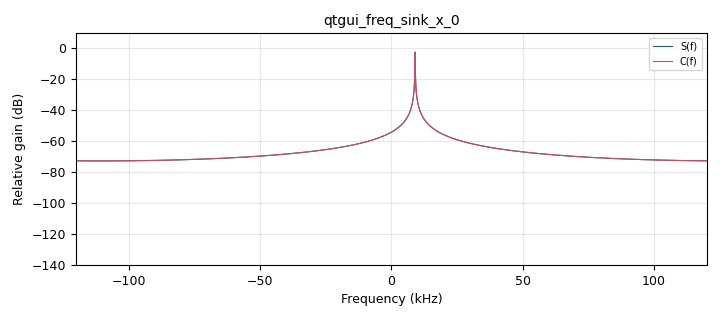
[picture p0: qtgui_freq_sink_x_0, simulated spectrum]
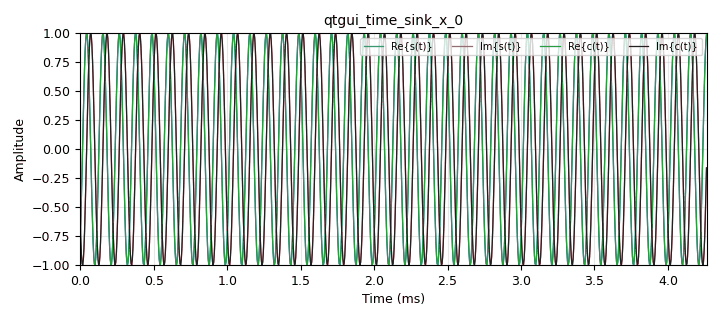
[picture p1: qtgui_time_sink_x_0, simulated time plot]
<?xml version='1.0' encoding='utf-8'?>
<?grc format='1' created='3.7.9'?>
<flow_graph>
<block>
<key>options</key>
<param><key>id</key><value>top_block</value></param>
<param><key>generate_options</key><value>qt_gui</value></param>
</block>
<block>
<key>variable_qtgui_range</key>
<param><key>id</key><value>Am</value></param>
<param><key>value</key><value>1</value></param>
<param><key>orient</key><value>Qt.Horizontal</value></param>
<param><key>start</key><value>0</value></param>
<param><key>step</key><value>0.5</value></param>
<param><key>stop</key><value>10</value></param>
</block>
<block>
<key>variable_qtgui_range</key>
<param><key>id</key><value>An</value></param>
<param><key>value</key><value>0</value></param>
<param><key>orient</key><value>Qt.Horizontal</value></param>
<param><key>start</key><value>0</value></param>
<param><key>step</key><value>0.5</value></param>
<param><key>stop</key><value>5</value></param>
</block>
<block>
<key>variable_qtgui_range</key>
<param><key>id</key><value>Df</value></param>
<param><key>value</key><value>1000</value></param>
<param><key>orient</key><value>Qt.Horizontal</value></param>
<param><key>start</key><value>500</value></param>
<param><key>step</key><value>100</value></param>
<param><key>stop</key><value>2000</value></param>
</block>
<block>
<key>variable_qtgui_range</key>
<param><key>id</key><value>fc</value></param>
<param><key>value</key><value>10000</value></param>
<param><key>orient</key><value>Qt.Horizontal</value></param>
<param><key>start</key><value>1000</value></param>
<param><key>step</key><value>1000</value></param>
<param><key>stop</key><value>20000</value></param>
</block>
<block>
<key>variable_qtgui_range</key>
<param><key>id</key><value>fm</value></param>
<param><key>value</key><value>0.5</value></param>
<param><key>orient</key><value>Qt.Horizontal</value></param>
<param><key>start</key><value>0</value></param>
<param><key>step</key><value>0.02</value></param>
<param><key>stop</key><value>1</value></param>
</block>
<block>
<key>variable</key>
<param><key>id</key><value>samp_rate</value></param>
<param><key>value</key><value>240000</value></param>
</block>
<block>
<key>analog_noise_source_x</key>
<param><key>id</key><value>analog_noise_source_x_0</value></param>
<param><key>amp</key><value>An</value></param>
<param><key>noise_type</key><value>analog.GR_GAUSSIAN</value></param>
<param><key>type</key><value>complex</value></param>
<param><key>seed</key><value>0</value></param>
</block>
<block>
<key>analog_pll_refout_cc</key>
<param><key>id</key><value>analog_pll_refout_cc_0</value></param>
<param><key>w</key><value>0.0628318530717</value></param>
<param><key>max_freq</key><value>(fc+Df)*0.0000261799387799</value></param>
<param><key>min_freq</key><value>(fc-Df)*0.0000261799387799</value></param>
</block>
<block>
<key>analog_sig_source_x</key>
<param><key>id</key><value>analog_sig_source_x_0</value></param>
<param><key>amp</key><value>1</value></param>
<param><key>freq</key><value>fc</value></param>
<param><key>offset</key><value>0</value></param>
<param><key>type</key><value>complex</value></param>
<param><key>samp_rate</key><value>samp_rate</value></param>
<param><key>waveform</key><value>analog.GR_COS_WAVE</value></param>
</block>
<block>
<key>blocks_add_xx</key>
<param><key>id</key><value>blocks_add_xx_0</value></param>
<param><key>type</key><value>complex</value></param>
</block>
<block>
<key>blocks_multiply_xx</key>
<param><key>id</key><value>blocks_multiply_xx_0</value></param>
<param><key>type</key><value>complex</value></param>
</block>
<block>
<key>blocks_throttle</key>
<param><key>id</key><value>blocks_throttle_0</value></param>
<param><key>samples_per_second</key><value>samp_rate</value></param>
<param><key>type</key><value>float</value></param>
</block>
<block>
<key>blocks_vco_c</key>
<param><key>id</key><value>blocks_vco_c_0</value></param>
<param><key>amplitude</key><value>1</value></param>
<param><key>samp_rate</key><value>samp_rate</value></param>
<param><key>sensitivity</key><value>6283.1</value></param>
</block>
<block>
<key>qtgui_freq_sink_x</key>
<param><key>id</key><value>qtgui_freq_sink_x_0</value></param>
<param><key>bw</key><value>samp_rate</value></param>
<param><key>fc</key><value>0</value></param>
<param><key>ctrlpanel</key><value>True</value></param>
<param><key>fftsize</key><value>4096</value></param>
<param><key>grid</key><value>True</value></param>
<param><key>label1</key><value>S(f)</value></param>
<param><key>label2</key><value>C(f)</value></param>
<param><key>nconnections</key><value>2</value></param>
<param><key>showports</key><value>True</value></param>
<param><key>type</key><value>complex</value></param>
<param><key>wintype</key><value>firdes.WIN_RECTANGULAR</value></param>
</block>
<block>
<key>qtgui_time_sink_x</key>
<param><key>id</key><value>qtgui_time_sink_x_0</value></param>
<param><key>ctrlpanel</key><value>True</value></param>
<param><key>grid</key><value>True</value></param>
<param><key>color1</key><value>"blue"</value></param>
<param><key>label1</key><value>Re{s(t)}</value></param>
<param><key>color2</key><value>"red"</value></param>
<param><key>label2</key><value>Im{s(t)}</value></param>
<param><key>style2</key><value>2</value></param>
<param><key>color3</key><value>"green"</value></param>
<param><key>label3</key><value>Re{c(t)}</value></param>
<param><key>color4</key><value>"black"</value></param>
<param><key>label4</key><value>Im{c(t)}</value></param>
<param><key>style4</key><value>2</value></param>
<param><key>nconnections</key><value>2</value></param>
<param><key>size</key><value>1024</value></param>
<param><key>srate</key><value>samp_rate</value></param>
<param><key>type</key><value>complex</value></param>
</block>
<block>
<key>analog_sig_source_x</key>
<param><key>id</key><value>v</value></param>
<param><key>amp</key><value>2*Am</value></param>
<param><key>freq</key><value>0.01</value></param>
<param><key>offset</key><value>-Am</value></param>
<param><key>type</key><value>float</value></param>
<param><key>samp_rate</key><value>samp_rate</value></param>
<param><key>waveform</key><value>analog.GR_SQR_WAVE</value></param>
</block>
<connection><source_block_id>analog_noise_source_x_0</source_block_id><sink_block_id>blocks_add_xx_0</sink_block_id><source_key>0</source_key><sink_key>1</sink_key></connection>
<connection><source_block_id>analog_pll_refout_cc_0</source_block_id><sink_block_id>qtgui_freq_sink_x_0</sink_block_id><source_key>0</source_key><sink_key>1</sink_key></connection>
<connection><source_block_id>analog_pll_refout_cc_0</source_block_id><sink_block_id>qtgui_time_sink_x_0</sink_block_id><source_key>0</source_key><sink_key>1</sink_key></connection>
<connection><source_block_id>analog_sig_source_x_0</source_block_id><sink_block_id>blocks_multiply_xx_0</sink_block_id><source_key>0</source_key><sink_key>1</sink_key></connection>
<connection><source_block_id>blocks_add_xx_0</source_block_id><sink_block_id>analog_pll_refout_cc_0</sink_block_id><source_key>0</source_key><sink_key>0</sink_key></connection>
<connection><source_block_id>blocks_add_xx_0</source_block_id><sink_block_id>qtgui_freq_sink_x_0</sink_block_id><source_key>0</source_key><sink_key>0</sink_key></connection>
<connection><source_block_id>blocks_add_xx_0</source_block_id><sink_block_id>qtgui_time_sink_x_0</sink_block_id><source_key>0</source_key><sink_key>0</sink_key></connection>
<connection><source_block_id>blocks_multiply_xx_0</source_block_id><sink_block_id>blocks_add_xx_0</sink_block_id><source_key>0</source_key><sink_key>0</sink_key></connection>
<connection><source_block_id>blocks_throttle_0</source_block_id><sink_block_id>blocks_vco_c_0</sink_block_id><source_key>0</source_key><sink_key>0</sink_key></connection>
<connection><source_block_id>blocks_vco_c_0</source_block_id><sink_block_id>blocks_multiply_xx_0</sink_block_id><source_key>0</source_key><sink_key>0</sink_key></connection>
<connection><source_block_id>v</source_block_id><sink_block_id>blocks_throttle_0</sink_block_id><source_key>0</source_key><sink_key>0</sink_key></connection>
</flow_graph>
